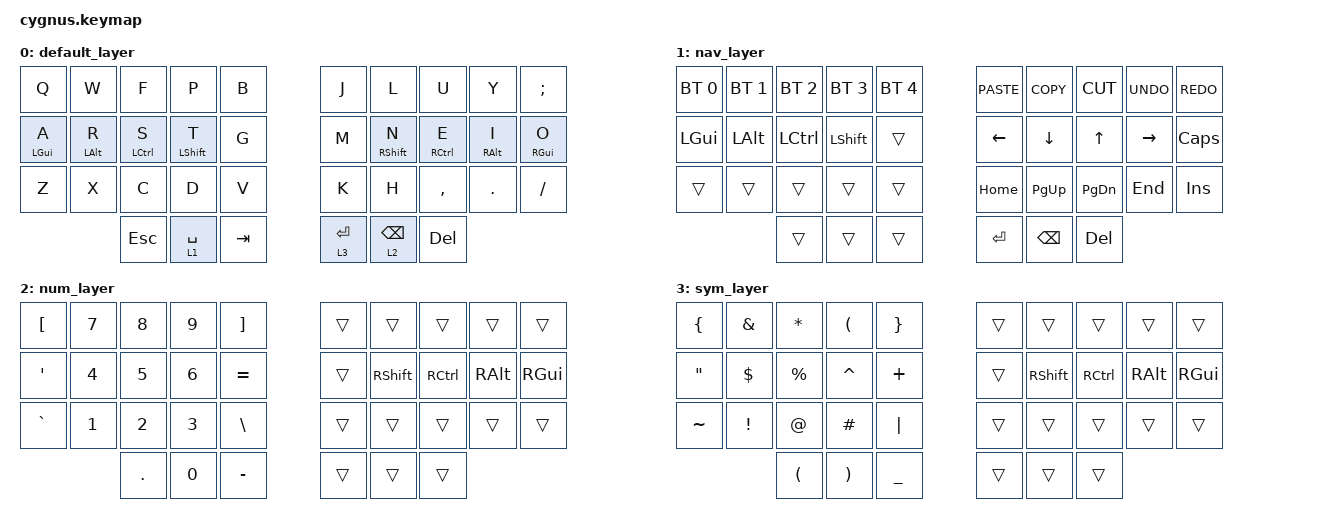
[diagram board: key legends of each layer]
/*
 * Copyright (c) 2020 The ZMK Contributors
 *
 * SPDX-License-Identifier: MIT
 */

#include <behaviors.dtsi>
#include <dt-bindings/zmk/bt.h>
#include <dt-bindings/zmk/keys.h>

&mt {
    tapping-term-ms = <200>;
    quick-tap-ms = <200>;
    require-prior-idle-ms = <150>;
    flavor = "balanced";
};

&lt {
    tapping-term-ms = <200>;
    quick-tap-ms = <200>;
};

/ {
    // behaviors {
    //     u_mt: u_mt {
    //         compatible = "zmk,behavior-hold-tap";
    //         #binding-cells = <2>;
    //         tapping-term-ms = <400>;
    //         flavor = "tap-preferred";
    //         bindings = <&kp>, <&kp>;
    //     };

    //     u_lt: u_lt {
    //         compatible = "zmk,behavior-hold-tap";
    //         #binding-cells = <2>;
    //         tapping-term-ms = <400>;
    //         flavor = "tap-preferred";
    //         bindings = <&mo>, <&kp>;
    //     };
    // };

    keymap {
        compatible = "zmk,keymap";

        default_layer {
            bindings = <
&kp Q          &kp W           &kp F            &kp P          &kp B             &kp J           &kp L        &kp U           &kp Y         &kp SEMI
&mt LGUI A     &mt LALT R      &mt LCTRL S      &mt LSHFT T    &kp G             &kp M           &mt RSHFT N  &mt RCTRL E     &mt RALT I    &mt RGUI O
&kp Z          &kp X           &kp C            &kp D          &kp V             &kp K           &kp H        &kp COMMA       &kp DOT       &kp FSLH
                               &kp ESC          &lt 1 SPACE    &kp TAB           &lt 3 ENTER     &lt 2 BSPC   &kp DEL
            >;
        };

        nav_layer {
            bindings = <
&bt BT_SEL 0   &bt BT_SEL 1    &bt BT_SEL 2     &bt BT_SEL 3   &bt BT_SEL 4      &kp K_PASTE     &kp K_COPY     &kp K_CUT     &kp K_UNDO    &kp K_REDO
&kp LGUI       &kp LALT        &kp LCTRL        &kp LSHFT      &trans            &kp LEFT        &kp DOWN       &kp UP        &kp RIGHT     &kp CAPS
&trans         &trans          &trans           &trans         &trans            &kp HOME        &kp PAGE_UP    &kp PAGE_DOWN &kp END       &kp INSERT
                               &trans           &trans         &trans            &kp ENTER       &kp BACKSPACE  &kp DEL
            >;
        };

        num_layer {
            bindings = <
&kp LBKT       &kp N7          &kp N8           &kp N9         &kp RBKT          &trans          &trans         &trans        &trans        &trans
&kp SQT        &kp N4          &kp N5           &kp N6         &kp EQUAL         &trans          &kp RSHFT      &kp RCTRL     &kp RALT      &kp RGUI
&kp GRAVE      &kp N1          &kp N2           &kp N3         &kp BSLH          &trans          &trans         &trans        &trans        &trans
                               &kp PERIOD       &kp N0         &kp MINUS         &trans          &trans         &trans
            >;
        };

        sym_layer {
            bindings = <
&kp LBRC       &kp AMPS        &kp ASTRK        &kp LPAR       &kp RBRC          &trans          &trans         &trans         &trans        &trans
&kp DQT        &kp DLLR        &kp PRCNT        &kp CARET      &kp PLUS          &trans          &kp RSHFT      &kp RCTRL      &kp RALT      &kp RGUI
&kp TILDE      &kp EXCL        &kp AT           &kp HASH       &kp PIPE          &trans          &trans         &trans         &trans        &trans
                               &kp LPAR         &kp RPAR       &kp UNDER         &trans          &trans         &trans
            >;
        };

    };
};
